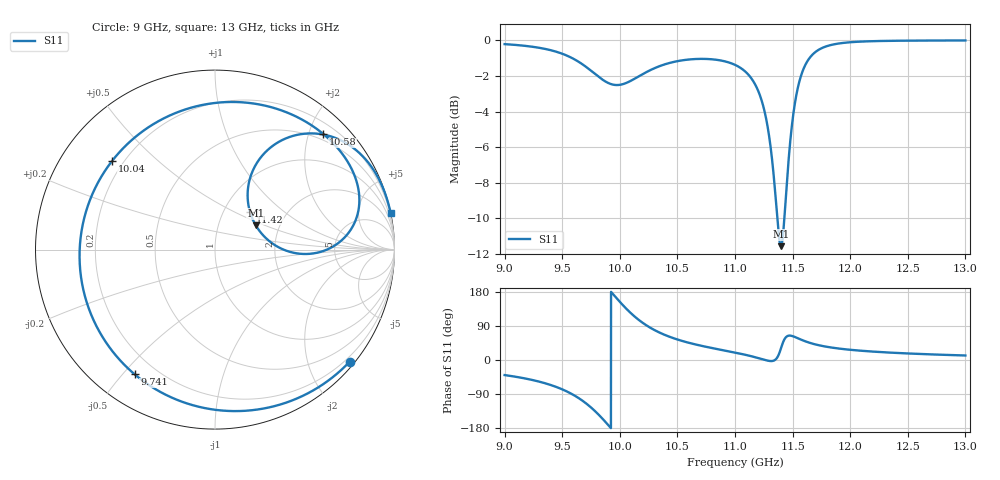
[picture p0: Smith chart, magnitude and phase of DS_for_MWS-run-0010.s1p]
! TOUCHSTONE file generated by CST DESIGN STUDIO
! Date and time: Tue Feb  4 16:44:53 2025
! Project name: C:\Work\MatlabApps\UnitCellOptimizationMatlab\CST\unitcell.cst
! Tree item: Tasks\Sweep1\SPara1\S-Parameters
! Header version: 2024
! Port assignment regex: !\s*Touchstone port\s*([0-9]+)\s*=\s*(CST MWS port|CST DES external port|CST DES block port)\s*(.+)\s* \(\"(.*)\"\)(\s*mode\s*([0-9]+))?.*
! Touchstone port assignment:
! Touchstone port 1 = CST DES external port 1 ("")
# GHz S MA R 50
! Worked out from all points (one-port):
!   4001 points, 9 GHz to 13 GHz, reference 50 ohm
!   lowest |S11| = -11.6 dB at 11.4 GHz (marker M1), VSWR 1.72, Z = 75.6 + j22 ohm
!   |S11| at or under -10 dB: 11.37 GHz to 11.43 GHz (60.89 MHz wide, 0.534 % of centre)
!   S11 on the Smith chart (normalised r, x): 9 GHz: 0.10, -2.76; 9.741 GHz: 0.12, -0.54; 10.04 GHz: 0.16, +0.36; 10.58 GHz: 0.39, +2.25; 11.42 GHz: 1.32, +0.61; 13 GHz: 0.02, +9.61
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9  0.9762 -39.8
9.281  0.9556 -55.6
9.5  0.9175 -77.4
9.633  0.8747 -98.6
9.741  0.8264 -122.9
9.88  0.7651 -165.0
9.939  0.7516 174.6
10  0.7503 153.5
10.044  0.7569 139.2
10.13  0.781 114.4
10.224  0.8124 92.8
10.357  0.8494 70.7
10.5  0.8744 54.1
10.582  0.8826 46.8
10.784  0.8859 32.6
11  0.8538 19.6
11.126  0.7945 11.2
11.22  0.6957 3.5
11.324  0.4561 -2.6
11.399  0.2644 30.7
11.418  0.2874 47.4
11.456  0.4226 63.3
11.5  0.5991 63.0
11.577  0.8027 53.3
11.7  0.9288 41.0
12  0.9882 26.9
12.5  0.9984 17.3
13  0.9996 11.9
